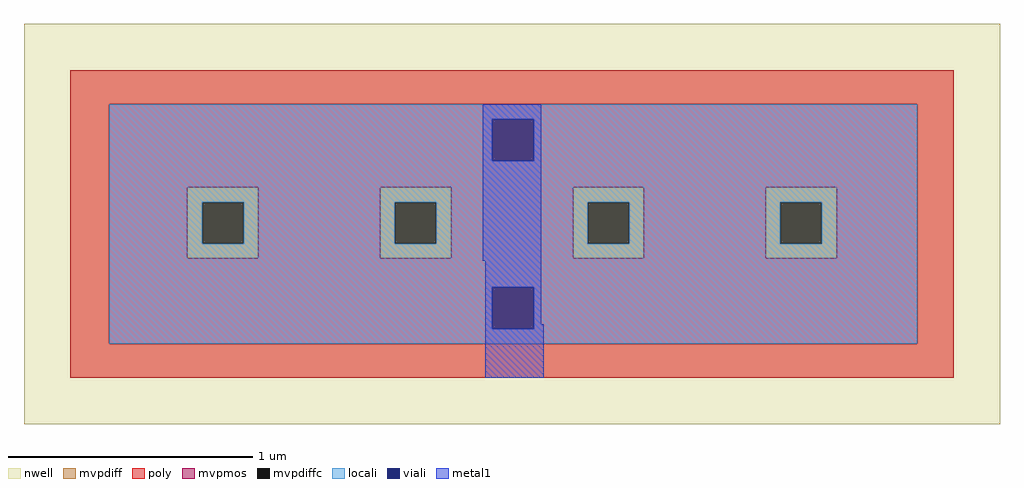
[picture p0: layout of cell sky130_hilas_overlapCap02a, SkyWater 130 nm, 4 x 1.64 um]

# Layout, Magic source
magic
tech sky130A
<< nwell >>
rect 0 0 400 164
<< mvpmos >>
rect 35 97 366 131
rect 35 68 67 97
rect 96 68 146 97
rect 175 68 225 97
rect 254 68 304 97
rect 333 68 366 97
rect 35 33 366 68
<< mvpdiff >>
rect 67 91 96 97
rect 67 74 73 91
rect 90 74 96 91
rect 67 68 96 74
rect 146 91 175 97
rect 146 74 152 91
rect 169 74 175 91
rect 146 68 175 74
rect 225 91 254 97
rect 225 74 231 91
rect 248 74 254 91
rect 225 68 254 74
rect 304 91 333 97
rect 304 74 310 91
rect 327 74 333 91
rect 304 68 333 74
<< mvpdiffc >>
rect 73 74 90 91
rect 152 74 169 91
rect 231 74 248 91
rect 310 74 327 91
<< poly >>
rect 19 131 381 145
rect 19 33 35 131
rect 366 33 381 131
rect 19 19 381 33
<< locali >>
rect 35 125 366 131
rect 35 108 192 125
rect 209 108 366 125
rect 35 91 366 108
rect 35 74 73 91
rect 90 74 152 91
rect 169 74 231 91
rect 248 74 310 91
rect 327 74 366 91
rect 35 56 366 74
rect 35 39 192 56
rect 209 39 366 56
rect 35 33 366 39
<< viali >>
rect 192 108 209 125
rect 192 39 209 56
<< metal1 >>
rect 188 125 212 131
rect 188 108 192 125
rect 209 108 212 125
rect 188 67 212 108
rect 189 56 212 67
rect 189 39 192 56
rect 209 41 212 56
rect 209 39 213 41
rect 189 19 213 39
<< properties >>
string LEFsite unithd
string LEFclass CORE
string LEFsymmetry X Y R90
<< end >>
